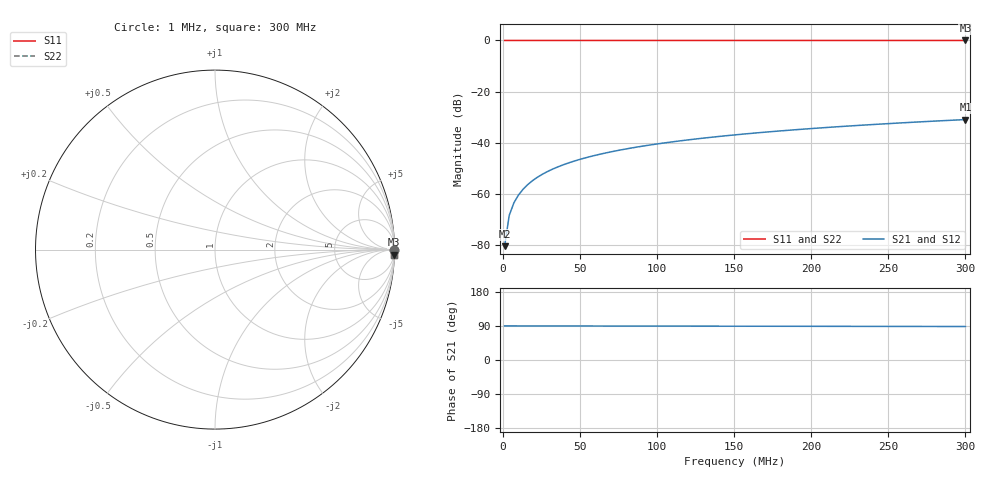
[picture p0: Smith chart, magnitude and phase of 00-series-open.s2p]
! vna-fence の例のための**計算した値** (実測ではない)。scripts/fakeData.mjs が書く
! 何も入れない治具の漏れを、直列 0.15 pF とした模型
# HZ S RI R 50
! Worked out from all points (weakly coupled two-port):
!   101 points, 1 MHz to 300 MHz, reference 50 ohm
!   highest |S21| = -30.98 dB at 300 MHz (marker M1); lowest = -80.5 dB at 1 MHz (marker M2)
!   lowest |S11| = 0.0 dB at 300 MHz (marker M3)
!   |S11| at or under -10 dB: nowhere
!   |S22| runs from 0.0 to 0.0 dB; largest |S21 - S12| = 0
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1000000  1 -9.4e-05  0 9.4e-05  0 9.4e-05  1 -9.4e-05
3990000  1 -0.000376  0 0.000376  0 0.000376  1 -0.000376
6980000  1 -0.000658  0 0.000658  0 0.000658  1 -0.000658
9970000  1 -0.00094  1e-06 0.00094  1e-06 0.00094  1 -0.00094
1.296e7  1 -0.00122  1e-06 0.00122  1e-06 0.00122  1 -0.00122
1.595e7  1 -0.0015  2e-06 0.0015  2e-06 0.0015  1 -0.0015
1.894e7  1 -0.00178  3e-06 0.00178  3e-06 0.00178  1 -0.00178
2.193e7  1 -0.00207  4e-06 0.00207  4e-06 0.00207  1 -0.00207
2.791e7  1 -0.00263  7e-06 0.00263  7e-06 0.00263  1 -0.00263
3.389e7  1 -0.00319  1e-05 0.00319  1e-05 0.00319  1 -0.00319
3.987e7  1 -0.00376  1.4e-05 0.00376  1.4e-05 0.00376  1 -0.00376
5.183e7  1 -0.00488  2.4e-05 0.00488  2.4e-05 0.00488  1 -0.00488
6.379e7  1 -0.00601  3.6e-05 0.00601  3.6e-05 0.00601  1 -0.00601
7.575e7  0.9999 -0.00714  5.1e-05 0.00714  5.1e-05 0.00714  0.9999 -0.00714
8.771e7  0.9999 -0.00827  6.8e-05 0.00827  6.8e-05 0.00827  0.9999 -0.00827
1.0266e8  0.9999 -0.00967  9.4e-05 0.00967  9.4e-05 0.00967  0.9999 -0.00967
1.2359e8  0.9999 -0.0116  0.000136 0.0116  0.000136 0.0116  0.9999 -0.0116
1.505e8  0.9998 -0.0142  0.000201 0.0142  0.000201 0.0142  0.9998 -0.0142
1.7442e8  0.9997 -0.0164  0.00027 0.0164  0.00027 0.0164  0.9997 -0.0164
2.0133e8  0.9996 -0.019  0.00036 0.019  0.00036 0.019  0.9996 -0.019
2.5216e8  0.9994 -0.0238  0.000564 0.0238  0.000564 0.0238  0.9994 -0.0238
3e8  0.9992 -0.0283  0.000799 0.0283  0.000799 0.0283  0.9992 -0.0283
